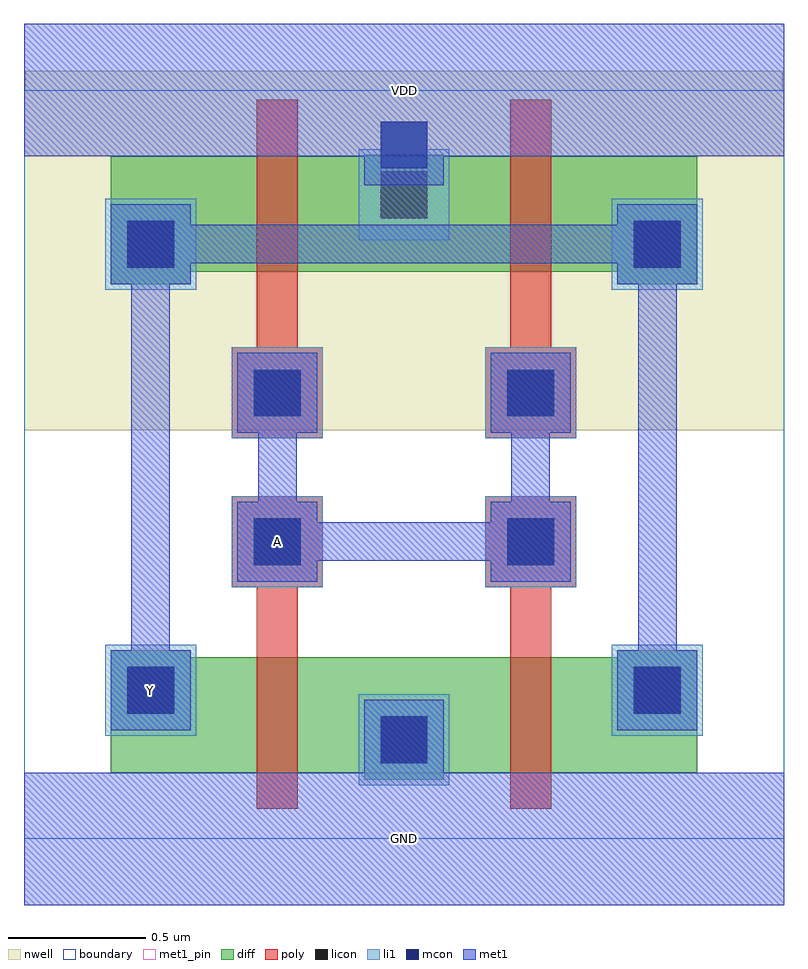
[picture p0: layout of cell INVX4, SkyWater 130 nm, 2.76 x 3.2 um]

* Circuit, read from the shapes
.subckt INVX4 A GND VDD Y
XM1 GND A Y VSUBS sky130_fd_pr__nfet_01v8 w=0.42 l=0.15 m=2
XM2 VDD A Y n1 sky130_fd_pr__pfet_01v8 w=0.42 l=0.15 m=2
.ends

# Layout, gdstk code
import gdstk
lib = gdstk.Library(unit=1e-6, precision=1e-09)
def R(c, l, rs):  # rectangles x0, y0, x1, y1
    for r in rs: c.add(gdstk.rectangle(r[:2], r[2:], *l))
def P(c, l, *ps):  # polygons
    for p in ps: c.add(gdstk.Polygon(p, *l))
nwell = (64, 20)
diff = (65, 20)
poly = (66, 20)
licon = (66, 44)
li1 = (67, 20)
mcon = (67, 44)
met1_pin = (68, 16)
met1 = (68, 20)
boundary = (235, 4)

invx4 = lib.new_cell('INVX4')
P(invx4, nwell, [(0,1.485),(0,2.72),(0.005,2.72),(0.005,2.79),(2.755,2.79),(2.755,2.72),(2.76,2.72),(2.76,1.485)])
P(invx4, diff, [(1.235,0.215),(1.235,0.24),(0.315,0.24),(0.315,0.685),(0.605,0.685),(0.605,0.66),(2.155,0.66),(2.155,0.685),(2.445,0.685),(2.445,0.24),(1.525,0.24),(1.525,0.215)],
  [(0.315,2.015),(0.315,2.48),(1.235,2.48),(1.235,2.485),(1.525,2.485),(1.525,2.48),(2.445,2.48),(2.445,2.015),(2.155,2.015),(2.155,2.06),(0.605,2.06),(0.605,2.015)])
P(invx4, poly, [(0.845,0.11),(0.845,0.915),(0.755,0.915),(0.755,1.245),(1.085,1.245),(1.085,0.915),(0.995,0.915),(0.995,0.11)],
  [(1.765,0.11),(1.765,0.915),(1.675,0.915),(1.675,1.245),(2.005,1.245),(2.005,0.915),(1.915,0.915),(1.915,0.11)],
  [(0.755,1.455),(0.755,1.785),(0.845,1.785),(0.845,2.685),(0.995,2.685),(0.995,1.785),(1.085,1.785),(1.085,1.455)],
  [(1.675,1.455),(1.675,1.785),(1.765,1.785),(1.765,2.685),(1.915,2.685),(1.915,1.785),(2.005,1.785),(2.005,1.455)])
R(invx4, licon, [(1.295,0.275,1.465,0.445), (0.375,0.455,0.545,0.625), (2.215,0.455,2.385,0.625), (0.835,0.995,1.005,1.165), (1.755,0.995,1.925,1.165), (0.835,1.535,1.005,1.705), (1.755,1.535,1.925,1.705), (0.375,2.075,0.545,2.245), (2.215,2.075,2.385,2.245), (1.295,2.255,1.465,2.425)])
R(invx4, li1, [(1.215,0.195,1.545,0.525), (0.295,0.375,0.625,0.705), (2.135,0.375,2.465,0.705), (0.755,0.915,1.085,1.245), (1.675,0.915,2.005,1.245), (0.755,1.455,1.085,1.785), (1.675,1.455,2.005,1.785), (0.295,1.995,0.625,2.325), (2.135,1.995,2.465,2.325)])
P(invx4, li1, [(1.215,2.175),(1.215,2.505),(1.295,2.505),(1.295,2.605),(1.465,2.605),(1.465,2.505),(1.545,2.505),(1.545,2.175)])
R(invx4, mcon, [(1.295,0.275,1.465,0.445), (0.375,0.455,0.545,0.625), (2.215,0.455,2.385,0.625), (0.835,0.995,1.005,1.165), (1.755,0.995,1.925,1.165), (0.835,1.535,1.005,1.705), (1.755,1.535,1.925,1.705), (0.375,2.075,0.545,2.245), (2.215,2.075,2.385,2.245), (1.295,2.435,1.465,2.605)])
R(invx4, met1_pin, [(0,-0.24,2.76,0.24), (0,2.48,2.76,2.96)])
P(invx4, met1_pin, [(0.315,0.395),(0.315,0.685),(0.39,0.685),(0.39,2.015),(0.315,2.015),(0.315,2.305),(0.605,2.305),(0.605,2.23),(2.155,2.23),(2.155,2.305),(2.445,2.305),(2.445,2.015),(2.37,2.015),(2.37,0.685),(2.445,0.685),(2.445,0.395),(2.155,0.395),(2.155,0.685),(2.23,0.685),(2.23,2.015),(2.155,2.015),(2.155,2.09),(0.605,2.09),(0.605,2.015),(0.53,2.015),(0.53,0.685),(0.605,0.685),(0.605,0.395)],
  [(0.775,0.935),(0.775,1.225),(0.85,1.225),(0.85,1.475),(0.775,1.475),(0.775,1.765),(1.065,1.765),(1.065,1.475),(0.99,1.475),(0.99,1.225),(1.065,1.225),(1.065,1.15),(1.695,1.15),(1.695,1.225),(1.77,1.225),(1.77,1.475),(1.695,1.475),(1.695,1.765),(1.985,1.765),(1.985,1.475),(1.91,1.475),(1.91,1.225),(1.985,1.225),(1.985,0.935),(1.695,0.935),(1.695,1.01),(1.065,1.01),(1.065,0.935)])
P(invx4, met1, [(0,-0.24),(0,0.24),(1.235,0.24),(1.235,0.505),(1.525,0.505),(1.525,0.24),(2.76,0.24),(2.76,-0.24)],
  [(0.775,0.935),(0.775,1.225),(0.85,1.225),(0.85,1.475),(0.775,1.475),(0.775,1.765),(1.065,1.765),(1.065,1.475),(0.99,1.475),(0.99,1.225),(1.065,1.225),(1.065,1.15),(1.695,1.15),(1.695,1.225),(1.77,1.225),(1.77,1.475),(1.695,1.475),(1.695,1.765),(1.985,1.765),(1.985,1.475),(1.91,1.475),(1.91,1.225),(1.985,1.225),(1.985,0.935),(1.695,0.935),(1.695,1.01),(1.065,1.01),(1.065,0.935)],
  [(0.315,0.395),(0.315,0.685),(0.39,0.685),(0.39,2.015),(0.315,2.015),(0.315,2.305),(0.605,2.305),(0.605,2.23),(2.155,2.23),(2.155,2.305),(2.445,2.305),(2.445,2.015),(2.37,2.015),(2.37,0.685),(2.445,0.685),(2.445,0.395),(2.155,0.395),(2.155,0.685),(2.23,0.685),(2.23,2.015),(2.155,2.015),(2.155,2.09),(0.605,2.09),(0.605,2.015),(0.53,2.015),(0.53,0.685),(0.605,0.685),(0.605,0.395)],
  [(1.235,2.375),(1.235,2.48),(0,2.48),(0,2.96),(2.76,2.96),(2.76,2.48),(1.525,2.48),(1.525,2.375)])
R(invx4, boundary, [(0,0,2.76,2.72)])
invx4.add(gdstk.Label('Y', (0.46,0.54), layer=68, texttype=5))
invx4.add(gdstk.Label('A', (0.92,1.08), layer=68, texttype=5))
invx4.add(gdstk.Label('GND', (1.38,0), layer=68, texttype=5))
invx4.add(gdstk.Label('VDD', (1.38,2.72), layer=68, texttype=5))

lib.write_gds('INVX4.gds')
